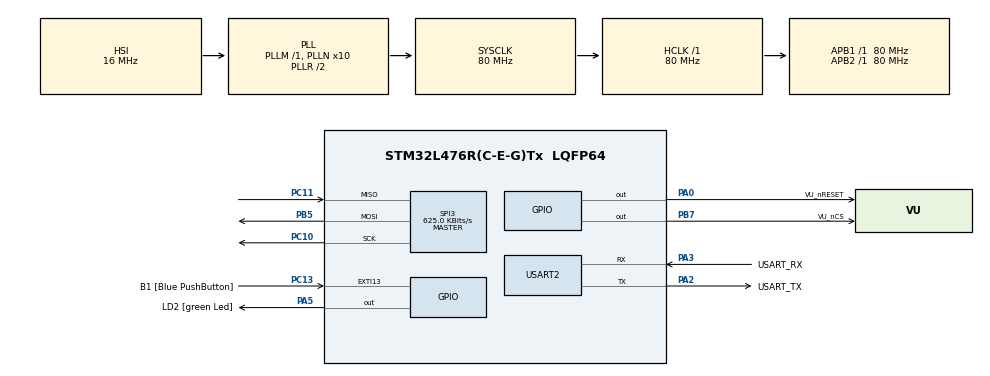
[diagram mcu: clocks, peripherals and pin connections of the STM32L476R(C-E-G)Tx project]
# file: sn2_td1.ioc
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Mcu.Family=STM32L4
Mcu.Name=STM32L476R(C-E-G)Tx
Mcu.Package=LQFP64
NVIC.PriorityGroup=NVIC_PRIORITYGROUP_4
PA0.GPIO_Label=VU_nRESET
PA0.PinState=GPIO_PIN_SET
PA0.Signal=GPIO_Output
PA13\ (JTMS-SWDIO).GPIO_Label=TMS
PA13\ (JTMS-SWDIO).Mode=Serial_Wire
PA13\ (JTMS-SWDIO).Signal=SYS_JTMS-SWDIO
PA14\ (JTCK-SWCLK).GPIO_Label=TCK
PA14\ (JTCK-SWCLK).Mode=Serial_Wire
PA14\ (JTCK-SWCLK).Signal=SYS_JTCK-SWCLK
PA2.GPIO_Label=USART_TX
PA2.GPIO_Mode=GPIO_MODE_AF_PP
PA2.GPIO_PuPd=GPIO_NOPULL
PA2.GPIO_Speed=GPIO_SPEED_FREQ_VERY_HIGH
PA2.Mode=Asynchronous
PA2.Signal=USART2_TX
PA3.GPIO_Label=USART_RX
PA3.GPIO_Mode=GPIO_MODE_AF_PP
PA3.GPIO_PuPd=GPIO_NOPULL
PA3.GPIO_Speed=GPIO_SPEED_FREQ_VERY_HIGH
PA3.Mode=Asynchronous
PA3.Signal=USART2_RX
PA5.GPIO_Label=LD2 [green Led]
PA5.GPIO_ModeDefaultOutputPP=GPIO_MODE_OUTPUT_PP
PA5.GPIO_PuPd=GPIO_NOPULL
PA5.GPIO_Speed=GPIO_SPEED_FREQ_LOW
PA5.PinState=GPIO_PIN_RESET
PA5.Signal=GPIO_Output
PB3\ (JTDO-TRACESWO).GPIO_Label=SWO
PB3\ (JTDO-TRACESWO).Signal=SYS_JTDO-SWO
PB5.Mode=Full_Duplex_Master
PB5.Signal=SPI3_MOSI
PB7.GPIO_Label=VU_nCS
PB7.PinState=GPIO_PIN_SET
PB7.Signal=GPIO_Output
PC10.Mode=Full_Duplex_Master
PC10.Signal=SPI3_SCK
PC11.Mode=Full_Duplex_Master
PC11.Signal=SPI3_MISO
PC13.GPIO_Label=B1 [Blue PushButton]
PC13.GPIO_ModeDefaultEXTI=GPIO_MODE_IT_FALLING
PC13.GPIO_PuPd=GPIO_NOPULL
PC13.Signal=GPXTI13
PC14-OSC32_IN\ (PC14).Mode=LSE-External-Oscillator
PC14-OSC32_IN\ (PC14).Signal=RCC_OSC32_IN
PC15-OSC32_OUT\ (PC15).Mode=LSE-External-Oscillator
PC15-OSC32_OUT\ (PC15).Signal=RCC_OSC32_OUT
PH0-OSC_IN\ (PH0).Signal=RCC_OSC_IN
PH1-OSC_OUT\ (PH1).Signal=RCC_OSC_OUT
ProjectManager.HeapSize=0x200
ProjectManager.StackSize=0x400
ProjectManager.TargetToolchain=STM32CubeIDE
RCC.ADCFreq_Value=64000000
RCC.AHBFreq_Value=80000000
RCC.APB1Freq_Value=80000000
RCC.APB1TimFreq_Value=80000000
RCC.APB2Freq_Value=80000000
RCC.APB2TimFreq_Value=80000000
RCC.CortexFreq_Value=80000000
RCC.HCLKFreq_Value=80000000
RCC.HSE_VALUE=8000000
RCC.HSI_VALUE=16000000
RCC.MSI_VALUE=4000000
RCC.PLLN=10
RCC.PLLSourceVirtual=RCC_PLLSOURCE_HSI
RCC.PREFETCH_ENABLE=1
RCC.SYSCLKFreq_VALUE=80000000
RCC.SYSCLKSource=RCC_SYSCLKSOURCE_PLLCLK
RCC.USBFreq_Value=64000000
RCC.VCOOutputFreq_Value=160000000
SPI3.BaudRatePrescaler=SPI_BAUDRATEPRESCALER_128
SPI3.CalculateBaudRate=625.0 KBits/s
SPI3.DataSize=SPI_DATASIZE_8BIT
SPI3.Direction=SPI_DIRECTION_2LINES
SPI3.Mode=SPI_MODE_MASTER
SPI3.VirtualType=VM_MASTER
USART2.VirtualMode-Asynchronous=VM_ASYNC
board=NUCLEO-L476RG

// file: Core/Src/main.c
/* USER CODE BEGIN Header */
/**
 ******************************************************************************
 * @file           : main.c
 * @brief          : Main program body
 ******************************************************************************
 * @attention
 *
 * Copyright (c) 2024 STMicroelectronics.
 * All rights reserved.
 *
 * This software is licensed under terms that can be found in the LICENSE file
 * in the root directory of this software component.
 * If no LICENSE file comes with this software, it is provided AS-IS.
 *
 ******************************************************************************
 */
/* USER CODE END Header */
#include "main.h"
#include "spi.h"
#include "usart.h"
#include "gpio.h"

/* USER CODE BEGIN Includes */
#include <stdio.h>
#include "vu_meter.h"
/* USER CODE END Includes */

void SystemClock_Config(void);
/* USER CODE BEGIN PFP */
h_vu_t h_vu;
uint8_t uart2_data;
/* USER CODE END PFP */

/* USER CODE BEGIN 0 */
int _write(int file, char *ptr, int len)
{
	HAL_UART_Transmit(&huart2, (uint8_t *)ptr, (uint16_t)len, HAL_MAX_DELAY);
	return len;
}
// Interruptions
void HAL_UART_RxCpltCallback(UART_HandleTypeDef* uart){
	HAL_UART_Transmit(&huart2, &uart2_data, 1, HAL_MAX_DELAY);
	HAL_UART_Receive_IT(&huart2, &uart2_data, 1);
}
/* USER CODE END 0 */

int main(void)
{

  /* MCU Configuration--------------------------------------------------------*/

  /* Reset of all peripherals, Initializes the Flash interface and the Systick. */
  HAL_Init();

  /* Configure the system clock */
  SystemClock_Config();

  /* Initialize all configured peripherals */
  MX_GPIO_Init();
  MX_USART2_UART_Init();
  MX_SPI3_Init();
  /* USER CODE BEGIN 2 */
	// uint8_t Data;
  vu_init(&h_vu, &hspi3);
  vu_blink(&h_vu);

	printf("\r\n==================================================================\n");
	HAL_UART_Receive_IT(&huart2, &uart2_data, 1);
  /* USER CODE END 2 */

  /* Infinite loop */
  /* USER CODE BEGIN WHILE */
	while (1)
	{
		vu_blink(&h_vu);

    /* USER CODE END WHILE */

	}
}

void SystemClock_Config(void)
{
  RCC_OscInitTypeDef RCC_OscInitStruct = {0};
  RCC_ClkInitTypeDef RCC_ClkInitStruct = {0};

  /** Configure the main internal regulator output voltage
  */
  if (HAL_PWREx_ControlVoltageScaling(PWR_REGULATOR_VOLTAGE_SCALE1) != HAL_OK)
  {
    Error_Handler();
  }

  /** Initializes the RCC Oscillators according to the specified parameters
  * in the RCC_OscInitTypeDef structure.
  */
  RCC_OscInitStruct.OscillatorType = RCC_OSCILLATORTYPE_HSI;
  RCC_OscInitStruct.HSIState = RCC_HSI_ON;
  RCC_OscInitStruct.HSICalibrationValue = RCC_HSICALIBRATION_DEFAULT;
  RCC_OscInitStruct.PLL.PLLState = RCC_PLL_ON;
  RCC_OscInitStruct.PLL.PLLSource = RCC_PLLSOURCE_HSI;
  RCC_OscInitStruct.PLL.PLLM = 1;
  RCC_OscInitStruct.PLL.PLLN = 10;
  RCC_OscInitStruct.PLL.PLLP = RCC_PLLP_DIV7;
  RCC_OscInitStruct.PLL.PLLQ = RCC_PLLQ_DIV2;
  RCC_OscInitStruct.PLL.PLLR = RCC_PLLR_DIV2;
  if (HAL_RCC_OscConfig(&RCC_OscInitStruct) != HAL_OK)
  {
    Error_Handler();
  }

  /** Initializes the CPU, AHB and APB buses clocks
  */
  RCC_ClkInitStruct.ClockType = RCC_CLOCKTYPE_HCLK|RCC_CLOCKTYPE_SYSCLK
                              |RCC_CLOCKTYPE_PCLK1|RCC_CLOCKTYPE_PCLK2;
  RCC_ClkInitStruct.SYSCLKSource = RCC_SYSCLKSOURCE_PLLCLK;
  RCC_ClkInitStruct.AHBCLKDivider = RCC_SYSCLK_DIV1;
  RCC_ClkInitStruct.APB1CLKDivider = RCC_HCLK_DIV1;
  RCC_ClkInitStruct.APB2CLKDivider = RCC_HCLK_DIV1;

  if (HAL_RCC_ClockConfig(&RCC_ClkInitStruct, FLASH_LATENCY_4) != HAL_OK)
  {
    Error_Handler();
  }
}

void Error_Handler(void)
{
  /* USER CODE BEGIN Error_Handler_Debug */
	/* User can add his own implementation to report the HAL error return state */
	__disable_irq();
	HAL_GPIO_WritePin(LD2_GPIO_Port, LD2_Pin, GPIO_PIN_SET);
	while (1)
	{
	}
  /* USER CODE END Error_Handler_Debug */
}
